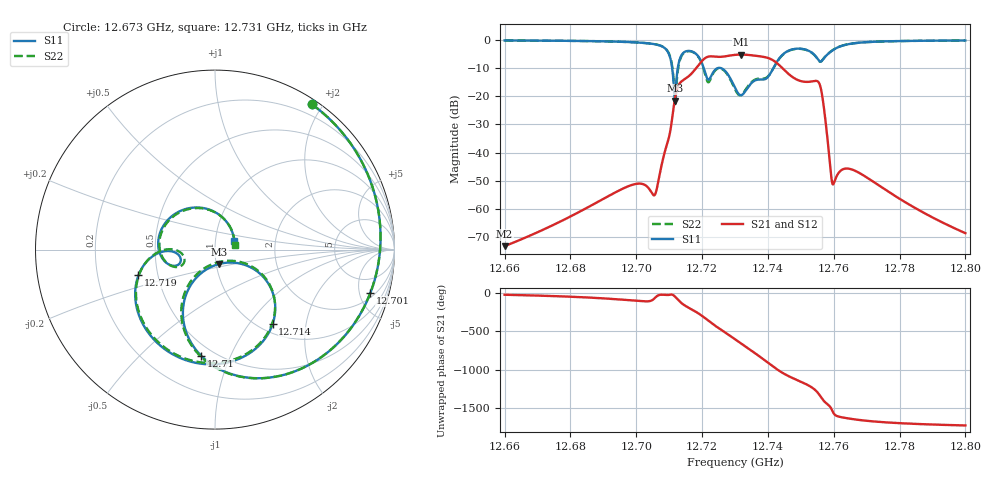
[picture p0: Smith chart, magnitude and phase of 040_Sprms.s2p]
! TOUCHSTONE file generated by CST MICROWAVE STUDIO
! Date and time: Wed Jul 31 12:41:11 2024
! Project name: WaveGuide_BPF-Ver4.1_U-shape_Ku_T3_C4_CWA_2.cst
! Parameters = {cavity_h=16; cavity_l0=10; cavity_l1=15.1937; cavity_l2=16.8235; cavity_l3=17.0855; cavity_l4=17.2715; cavity_l5=17.1278; cavity_l6=17.57; cavity_r=2.5; cavity_screw_l=0.5; cavity_screw_r=1.5; cavity_w=8; iris_h00=0; iris_h01=8.8292; iris_h112=0; iris_h12=5.6022; iris_h211=3.6665; ir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
! Header version: 2018
! Port assignment regex: !\s*Touchstone port\s*([0-9]+)\s*=\s*(CST MWS port|CST DS port)\s*([0-9]+|Zmin|Zmax)\s*\(\"(.*)\"\)(\s*mode\s*([0-9]+))?.*
! Touchstone port assignment:
! Touchstone port 1 = CST MWS port 1 ("")
! Touchstone port 2 = CST MWS port 2 ("")
# GHz S RI R 50
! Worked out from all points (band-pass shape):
!   5001 points, 12.66 GHz to 12.8 GHz, reference 50 ohm
!   highest |S21| = -5.18 dB at 12.732 GHz (marker M1); lowest = -73.2 dB at 12.66 GHz (marker M2)
!   |S21| within 3 dB of the highest: 12.71943 GHz to 12.74272 GHz (23.29 MHz wide, 0.183 % of centre)
!   lowest |S11| = -21.6 dB at 12.712 GHz (marker M3), VSWR 1.18, Z = 51.9 - j8.33 ohm
!   |S11| at or under -10 dB: 12.71092 GHz to 12.71261 GHz (1.695 MHz wide, 0.0133 % of centre); 12.7205 GHz to 12.7247 GHz (4.2 MHz wide, 0.033 % of centre); 12.72579 GHz to 12.74164 GHz (15.85 MHz wide, 0.124 % of centre)
!   |S22| runs from -22.8 to -0.2 dB; largest |S21 - S12| = 1e-09
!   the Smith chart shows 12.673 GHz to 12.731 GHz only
!   S11 on the Smith chart (normalised r, x): 12.673 GHz: 0.06, +1.87; 12.701 GHz: 2.52, -6.32; 12.71 GHz: 0.43, -0.78; 12.714 GHz: 1.15, -1.31; 12.719 GHz: 0.39, -0.14; 12.731 GHz: 1.24, +0.12
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12.66  0.3369 0.9214  0.0002 -8.84e-05  0.0002 -8.84e-05  0.3371 0.9214
12.67274  0.5397 0.8096  0.00036 -0.000282  0.00036 -0.000282  0.5392 0.8101
12.68335  0.7403 0.6121  0.000528 -0.000765  0.000528 -0.000765  0.7392 0.6138
12.70096  0.8655 -0.2416  -0.000777 -0.00271  -0.000777 -0.00271  0.8671 -0.2371
12.70668  0.4605 -0.6721  0.00259 -0.00159  0.00259 -0.00159  0.4654 -0.6699
12.70973  -0.0772 -0.5915  0.0151 -0.00752  0.0151 -0.00752  -0.0719 -0.6026
12.71174  0.0249 -0.0798  0.0621 -0.0659  0.0621 -0.0659  -0.0116 -0.0796
12.71365  0.3214 -0.4138  -0.1144 -0.1412  -0.1144 -0.1412  0.3269 -0.384
12.71944  -0.4266 -0.1436  0.0784 0.3831  0.0784 0.3831  -0.4198 -0.1317
12.72208  -0.1902 -0.0581  0.5056 -0.0575  0.5056 -0.0575  -0.1696 -0.058
12.72485  -0.3167 0.0327  -0.0137 -0.5019  -0.0137 -0.5019  -0.3102 0.0258
12.73  0.0925 0.1072  -0.2648 0.4757  -0.2648 0.4757  0.1007 0.0881
12.73076  0.1078 0.0462  -0.064 0.5451  -0.064 0.5451  0.1093 0.024
12.73182  0.0988 -0.0346  0.2318 0.4999  0.2318 0.4999  0.0896 -0.0554
12.73669  -0.1953 -0.0222  0.0829 -0.5147  0.0829 -0.5147  -0.203 -0.0159
12.74198  0.3442 0.00171  -0.157 0.3901  -0.157 0.3901  0.3395 0.0277
12.74652  -0.1837 -0.6285  0.2415 -0.0222  0.2415 -0.0222  -0.1679 -0.6274
12.75335  -0.398 0.4433  -0.1543 -0.0998  -0.1543 -0.0998  -0.3859 0.4483
12.75618  0.1885 0.3726  0.014 0.1293  0.014 0.1293  0.1984 0.3652
12.75982  0.5175 -0.4179  -0.00103 -0.00253  -0.00103 -0.00253  0.5173 -0.4238
12.77668  -0.8783 -0.3584  -0.000936 0.00178  -0.000936 0.00178  -0.8776 -0.3597
12.8  -0.9514 0.2333  6.58e-05 0.000366  6.58e-05 0.000366  -0.9512 0.2339
